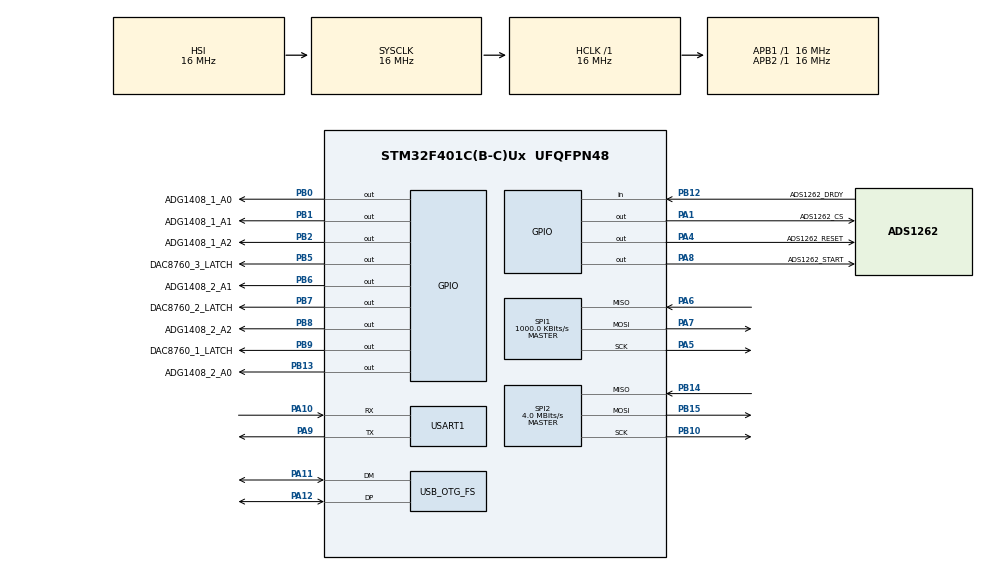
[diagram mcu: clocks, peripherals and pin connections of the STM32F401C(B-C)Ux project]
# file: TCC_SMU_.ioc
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Mcu.Family=STM32F4
Mcu.Name=STM32F401C(B-C)Ux
Mcu.Package=UFQFPN48
NVIC.OTG_FS_IRQn=true\:0\:0\:false\:false\:true\:true\:true\:true
NVIC.PriorityGroup=NVIC_PRIORITYGROUP_4
PA1.GPIO_Label=ADS1262_CS
PA1.Signal=GPIO_Output
PA10.Mode=Asynchronous
PA10.Signal=USART1_RX
PA11.Mode=Device_Only
PA11.Signal=USB_OTG_FS_DM
PA12.Mode=Device_Only
PA12.Signal=USB_OTG_FS_DP
PA4.GPIO_Label=ADS1262_RESET
PA4.Signal=GPIO_Output
PA5.Mode=Full_Duplex_Master
PA5.Signal=SPI1_SCK
PA6.Mode=Full_Duplex_Master
PA6.Signal=SPI1_MISO
PA7.Mode=Full_Duplex_Master
PA7.Signal=SPI1_MOSI
PA8.GPIO_Label=ADS1262_START
PA8.Signal=GPIO_Output
PA9.Mode=Asynchronous
PA9.Signal=USART1_TX
PB0.GPIO_Label=ADG1408_1_A0
PB0.Signal=GPIO_Output
PB1.GPIO_Label=ADG1408_1_A1
PB1.Signal=GPIO_Output
PB10.Mode=Full_Duplex_Master
PB10.Signal=SPI2_SCK
PB12.GPIO_Label=ADS1262_DRDY
PB12.Signal=GPIO_Input
PB13.GPIO_Label=ADG1408_2_A0
PB13.Signal=GPIO_Output
PB14.Mode=Full_Duplex_Master
PB14.Signal=SPI2_MISO
PB15.Mode=Full_Duplex_Master
PB15.Signal=SPI2_MOSI
PB2.GPIO_Label=ADG1408_1_A2
PB2.Signal=GPIO_Output
PB5.GPIO_Label=DAC8760_3_LATCH
PB5.Signal=GPIO_Output
PB6.GPIO_Label=ADG1408_2_A1
PB6.Signal=GPIO_Output
PB7.GPIO_Label=DAC8760_2_LATCH
PB7.Signal=GPIO_Output
PB8.GPIO_Label=ADG1408_2_A2
PB8.Signal=GPIO_Output
PB9.GPIO_Label=DAC8760_1_LATCH
PB9.Signal=GPIO_Output
PH0\ -\ OSC_IN.Mode=HSE-External-Oscillator
PH0\ -\ OSC_IN.Signal=RCC_OSC_IN
PH1\ -\ OSC_OUT.Mode=HSE-External-Oscillator
PH1\ -\ OSC_OUT.Signal=RCC_OSC_OUT
ProjectManager.HeapSize=0x200
ProjectManager.StackSize=0x400
ProjectManager.TargetToolchain=STM32CubeIDE
RCC.48MHZClocksFreq_Value=48000000
RCC.AHBFreq_Value=16000000
RCC.APB1Freq_Value=16000000
RCC.APB2Freq_Value=16000000
RCC.CortexFreq_Value=16000000
RCC.HSE_VALUE=25000000
RCC.HSI_VALUE=16000000
RCC.LSE_VALUE=32768
RCC.PLLM=15
RCC.PLLN=144
RCC.PLLQ=5
RCC.SYSCLKFreq_VALUE=16000000
RCC.VCOOutputFreq_Value=240000000
SPI1.BaudRatePrescaler=SPI_BAUDRATEPRESCALER_16
SPI1.CLKPhase=SPI_PHASE_2EDGE
SPI1.CalculateBaudRate=1000.0 KBits/s
SPI1.Direction=SPI_DIRECTION_2LINES
SPI1.Mode=SPI_MODE_MASTER
SPI1.VirtualType=VM_MASTER
SPI2.BaudRatePrescaler=SPI_BAUDRATEPRESCALER_4
SPI2.CalculateBaudRate=4.0 MBits/s
SPI2.Direction=SPI_DIRECTION_2LINES
SPI2.Mode=SPI_MODE_MASTER
SPI2.VirtualType=VM_MASTER
TIM2.AutoReloadPreload=TIM_AUTORELOAD_PRELOAD_DISABLE
TIM2.Period=0xffffffff
TIM2.Prescaler=15
USART1.VirtualMode=VM_ASYNC
USB_DEVICE.CLASS_NAME_FS=CDC
USB_DEVICE.VirtualMode=Cdc
USB_DEVICE.VirtualModeFS=Cdc_FS
USB_OTG_FS.VirtualMode=Device_Only
VP_TIM2_VS_ClockSourceINT.Mode=Internal
VP_USB_DEVICE_VS_USB_DEVICE_CDC_FS.Mode=CDC_FS
board=custom

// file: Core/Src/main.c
/* USER CODE BEGIN Header */
/**
  ******************************************************************************
  * @file           : main.c
  * @brief          : Main program body
  ******************************************************************************
  * @attention
  *
  * Copyright (c) 2025 STMicroelectronics.
  * All rights reserved.
  *
  * This software is licensed under terms that can be found in the LICENSE file
  * in the root directory of this software component.
  * If no LICENSE file comes with this software, it is provided AS-IS.
  *
  ******************************************************************************
  */
/* USER CODE END Header */
#include "main.h"
#include "usb_device.h"

/* USER CODE BEGIN Includes */
#include "SMU.h"
#include "ADS1262.h"
#include "DAC8760.h"
#include "DWIN.h"
/* USER CODE END Includes */

SPI_HandleTypeDef hspi1;
SPI_HandleTypeDef hspi2;

TIM_HandleTypeDef htim2;

UART_HandleTypeDef huart1;

/* USER CODE BEGIN PV */
channel_t Channel1;
channel_t Channel2;
DAC8760_t Ch1_Potentiostat_DAC; // Potentiostat Channel 1
DAC8760_t Ch1_Galvanostat_DAC;  // Galvanostat Channel 1
DAC8760_t Ch2_Potentiostat_DAC; // Potentiostat Channel 2
DAC8760_t Ch2_Galvanostat_DAC;  // Galvanostat Channel 2

char input[64];
uint8_t USB_newData;

int currentAmmeterResistorIndex = 2;
float currentAmmeterResistor = 1000;
float ammeterResistors [7] = {10, 100, 1000, 10000, 100000, 1000000, 10000000};
float currentSourceResistor = 1000;
int pageID;
uint8_t dwinChannel;
bool HMIflag;   // HMI flag -> 0 PC ; 1 DWIN display

/* USER CODE END PV */

void SystemClock_Config(void);
static void MX_GPIO_Init(void);
static void MX_SPI1_Init(void);
static void MX_SPI2_Init(void);
static void MX_USART1_UART_Init(void);
static void MX_TIM2_Init(void);

int main(void)
{

  /* MCU Configuration--------------------------------------------------------*/

  /* Reset of all peripherals, Initializes the Flash interface and the Systick. */
  HAL_Init();

  /* Configure the system clock */
  SystemClock_Config();

  /* Initialize all configured peripherals */
  MX_GPIO_Init();
  MX_SPI1_Init();
  MX_SPI2_Init();
  MX_USART1_UART_Init();
  MX_USB_DEVICE_Init();
  MX_TIM2_Init();
  HAL_TIM_Base_Start(&htim2);
  /* USER CODE BEGIN 2 */
  SMU_Init(hspi2);
  char charData[15];

  int32_t adc_data = 0;
  double voltage = 0;
  double current = 0;

  HAL_GPIO_WritePin(ADG1408_1_A0_GPIO_Port, ADG1408_1_A0_Pin, GPIO_PIN_RESET);
  HAL_GPIO_WritePin(ADG1408_1_A1_GPIO_Port, ADG1408_1_A1_Pin, GPIO_PIN_SET);
  HAL_GPIO_WritePin(ADG1408_1_A2_GPIO_Port, ADG1408_1_A2_Pin, GPIO_PIN_RESET);

  HAL_GPIO_WritePin(ADG1408_2_A0_GPIO_Port, ADG1408_2_A0_Pin, GPIO_PIN_RESET);
  HAL_GPIO_WritePin(ADG1408_2_A1_GPIO_Port, ADG1408_2_A1_Pin, GPIO_PIN_RESET);
  HAL_GPIO_WritePin(ADG1408_2_A2_GPIO_Port, ADG1408_2_A2_Pin, GPIO_PIN_RESET);

  //currentAmmeterResistor = 1000;

  SMU_SetCurrent(0, Channel1); // galvanostat*
  SMU_SetVoltage(0, Channel2);
  /* USER CODE END 2 */

  /* Infinite loop */
  /* USER CODE BEGIN WHILE */
  while (1)
  {
	  if (USB_newData == 1)
	  {
		  pc_interface();
		  USB_newData=0;
	  }
	  //waitForDwin();

	  /*(ADS1262_setAIN(AIN0, AINCOM);
	  adc_data = ADS1262_ReadData();

	  voltage = (double)adc_data * (2.5 / pow(2, 31));

	  sprintf(charData, "%f \n", voltage);
	  //sprintf(charData, "%X \n", (uint8_t)((AIN6 << 4) | AINCOM));
	  CDC_Transmit_FS((uint8_t *) charData, strlen(charData));*/

	  /*SMU_SetCurrent(0.001, Channel1); // galvanostat*
	  SMU_SetVoltage(1, Channel2);*/

    /* USER CODE END WHILE */

  }
}

void SystemClock_Config(void)
{
  RCC_OscInitTypeDef RCC_OscInitStruct = {0};
  RCC_ClkInitTypeDef RCC_ClkInitStruct = {0};

  /** Configure the main internal regulator output voltage
  */
  __HAL_RCC_PWR_CLK_ENABLE();
  __HAL_PWR_VOLTAGESCALING_CONFIG(PWR_REGULATOR_VOLTAGE_SCALE2);

  /** Initializes the RCC Oscillators according to the specified parameters
  * in the RCC_OscInitTypeDef structure.
  */
  RCC_OscInitStruct.OscillatorType = RCC_OSCILLATORTYPE_HSI|RCC_OSCILLATORTYPE_HSE;
  RCC_OscInitStruct.HSEState = RCC_HSE_ON;
  RCC_OscInitStruct.HSIState = RCC_HSI_ON;
  RCC_OscInitStruct.HSICalibrationValue = RCC_HSICALIBRATION_DEFAULT;
  RCC_OscInitStruct.PLL.PLLState = RCC_PLL_ON;
  RCC_OscInitStruct.PLL.PLLSource = RCC_PLLSOURCE_HSE;
  RCC_OscInitStruct.PLL.PLLM = 15;
  RCC_OscInitStruct.PLL.PLLN = 144;
  RCC_OscInitStruct.PLL.PLLP = RCC_PLLP_DIV2;
  RCC_OscInitStruct.PLL.PLLQ = 5;
  if (HAL_RCC_OscConfig(&RCC_OscInitStruct) != HAL_OK)
  {
    Error_Handler();
  }

  /** Initializes the CPU, AHB and APB buses clocks
  */
  RCC_ClkInitStruct.ClockType = RCC_CLOCKTYPE_HCLK|RCC_CLOCKTYPE_SYSCLK
                              |RCC_CLOCKTYPE_PCLK1|RCC_CLOCKTYPE_PCLK2;
  RCC_ClkInitStruct.SYSCLKSource = RCC_SYSCLKSOURCE_HSI;
  RCC_ClkInitStruct.AHBCLKDivider = RCC_SYSCLK_DIV1;
  RCC_ClkInitStruct.APB1CLKDivider = RCC_HCLK_DIV1;
  RCC_ClkInitStruct.APB2CLKDivider = RCC_HCLK_DIV1;

  if (HAL_RCC_ClockConfig(&RCC_ClkInitStruct, FLASH_LATENCY_0) != HAL_OK)
  {
    Error_Handler();
  }
}

static void MX_SPI1_Init(void)
{

  /* SPI1 parameter configuration*/
  hspi1.Instance = SPI1;
  hspi1.Init.Mode = SPI_MODE_MASTER;
  hspi1.Init.Direction = SPI_DIRECTION_2LINES;
  hspi1.Init.DataSize = SPI_DATASIZE_8BIT;
  hspi1.Init.CLKPolarity = SPI_POLARITY_LOW;
  hspi1.Init.CLKPhase = SPI_PHASE_2EDGE;
  hspi1.Init.NSS = SPI_NSS_SOFT;
  hspi1.Init.BaudRatePrescaler = SPI_BAUDRATEPRESCALER_16;
  hspi1.Init.FirstBit = SPI_FIRSTBIT_MSB;
  hspi1.Init.TIMode = SPI_TIMODE_DISABLE;
  hspi1.Init.CRCCalculation = SPI_CRCCALCULATION_DISABLE;
  hspi1.Init.CRCPolynomial = 10;
  if (HAL_SPI_Init(&hspi1) != HAL_OK)
  {
    Error_Handler();
  }

}

static void MX_SPI2_Init(void)
{

  /* SPI2 parameter configuration*/
  hspi2.Instance = SPI2;
  hspi2.Init.Mode = SPI_MODE_MASTER;
  hspi2.Init.Direction = SPI_DIRECTION_2LINES;
  hspi2.Init.DataSize = SPI_DATASIZE_8BIT;
  hspi2.Init.CLKPolarity = SPI_POLARITY_LOW;
  hspi2.Init.CLKPhase = SPI_PHASE_1EDGE;
  hspi2.Init.NSS = SPI_NSS_SOFT;
  hspi2.Init.BaudRatePrescaler = SPI_BAUDRATEPRESCALER_4;
  hspi2.Init.FirstBit = SPI_FIRSTBIT_MSB;
  hspi2.Init.TIMode = SPI_TIMODE_DISABLE;
  hspi2.Init.CRCCalculation = SPI_CRCCALCULATION_DISABLE;
  hspi2.Init.CRCPolynomial = 10;
  if (HAL_SPI_Init(&hspi2) != HAL_OK)
  {
    Error_Handler();
  }

}

static void MX_TIM2_Init(void)
{

  TIM_ClockConfigTypeDef sClockSourceConfig = {0};
  TIM_MasterConfigTypeDef sMasterConfig = {0};

  htim2.Instance = TIM2;
  htim2.Init.Prescaler = 15;
  htim2.Init.CounterMode = TIM_COUNTERMODE_UP;
  htim2.Init.Period = 0xffffffff;
  htim2.Init.ClockDivision = TIM_CLOCKDIVISION_DIV1;
  htim2.Init.AutoReloadPreload = TIM_AUTORELOAD_PRELOAD_DISABLE;
  if (HAL_TIM_Base_Init(&htim2) != HAL_OK)
  {
    Error_Handler();
  }
  sClockSourceConfig.ClockSource = TIM_CLOCKSOURCE_INTERNAL;
  if (HAL_TIM_ConfigClockSource(&htim2, &sClockSourceConfig) != HAL_OK)
  {
    Error_Handler();
  }
  sMasterConfig.MasterOutputTrigger = TIM_TRGO_RESET;
  sMasterConfig.MasterSlaveMode = TIM_MASTERSLAVEMODE_DISABLE;
  if (HAL_TIMEx_MasterConfigSynchronization(&htim2, &sMasterConfig) != HAL_OK)
  {
    Error_Handler();
  }

}

static void MX_USART1_UART_Init(void)
{

  huart1.Instance = USART1;
  huart1.Init.BaudRate = 115200;
  huart1.Init.WordLength = UART_WORDLENGTH_8B;
  huart1.Init.StopBits = UART_STOPBITS_1;
  huart1.Init.Parity = UART_PARITY_NONE;
  huart1.Init.Mode = UART_MODE_TX_RX;
  huart1.Init.HwFlowCtl = UART_HWCONTROL_NONE;
  huart1.Init.OverSampling = UART_OVERSAMPLING_16;
  if (HAL_UART_Init(&huart1) != HAL_OK)
  {
    Error_Handler();
  }

}

static void MX_GPIO_Init(void)
{
  GPIO_InitTypeDef GPIO_InitStruct = {0};

  /* GPIO Ports Clock Enable */
  __HAL_RCC_GPIOH_CLK_ENABLE();
  __HAL_RCC_GPIOA_CLK_ENABLE();
  __HAL_RCC_GPIOB_CLK_ENABLE();

  /*Configure GPIO pin Output Level */
  HAL_GPIO_WritePin(GPIOA, ADS1262_CS_Pin|ADS1262_RESET_Pin|ADS1262_START_Pin, GPIO_PIN_RESET);

  /*Configure GPIO pin Output Level */
  HAL_GPIO_WritePin(GPIOB, ADG1408_1_A0_Pin|ADG1408_1_A1_Pin|ADG1408_1_A2_Pin|ADG1408_2_A0_Pin
                          |DAC8760_3_LATCH_Pin|ADG1408_2_A1_Pin|DAC8760_2_LATCH_Pin|ADG1408_2_A2_Pin
                          |DAC8760_1_LATCH_Pin, GPIO_PIN_RESET);

  /*Configure GPIO pins : ADS1262_CS_Pin ADS1262_RESET_Pin ADS1262_START_Pin */
  GPIO_InitStruct.Pin = ADS1262_CS_Pin|ADS1262_RESET_Pin|ADS1262_START_Pin;
  GPIO_InitStruct.Mode = GPIO_MODE_OUTPUT_PP;
  GPIO_InitStruct.Pull = GPIO_NOPULL;
  GPIO_InitStruct.Speed = GPIO_SPEED_FREQ_LOW;
  HAL_GPIO_Init(GPIOA, &GPIO_InitStruct);

  /*Configure GPIO pins : ADG1408_1_A0_Pin ADG1408_1_A1_Pin ADG1408_1_A2_Pin ADG1408_2_A0_Pin
                           DAC8760_3_LATCH_Pin ADG1408_2_A1_Pin DAC8760_2_LATCH_Pin ADG1408_2_A2_Pin
                           DAC8760_1_LATCH_Pin */
  GPIO_InitStruct.Pin = ADG1408_1_A0_Pin|ADG1408_1_A1_Pin|ADG1408_1_A2_Pin|ADG1408_2_A0_Pin
                          |DAC8760_3_LATCH_Pin|ADG1408_2_A1_Pin|DAC8760_2_LATCH_Pin|ADG1408_2_A2_Pin
                          |DAC8760_1_LATCH_Pin;
  GPIO_InitStruct.Mode = GPIO_MODE_OUTPUT_PP;
  GPIO_InitStruct.Pull = GPIO_NOPULL;
  GPIO_InitStruct.Speed = GPIO_SPEED_FREQ_LOW;
  HAL_GPIO_Init(GPIOB, &GPIO_InitStruct);

  /*Configure GPIO pin : ADS1262_DRDY_Pin */
  GPIO_InitStruct.Pin = ADS1262_DRDY_Pin;
  GPIO_InitStruct.Mode = GPIO_MODE_INPUT;
  GPIO_InitStruct.Pull = GPIO_NOPULL;
  HAL_GPIO_Init(ADS1262_DRDY_GPIO_Port, &GPIO_InitStruct);

}

void Error_Handler(void)
{
  __disable_irq();
  while (1)
  {
  }
}
